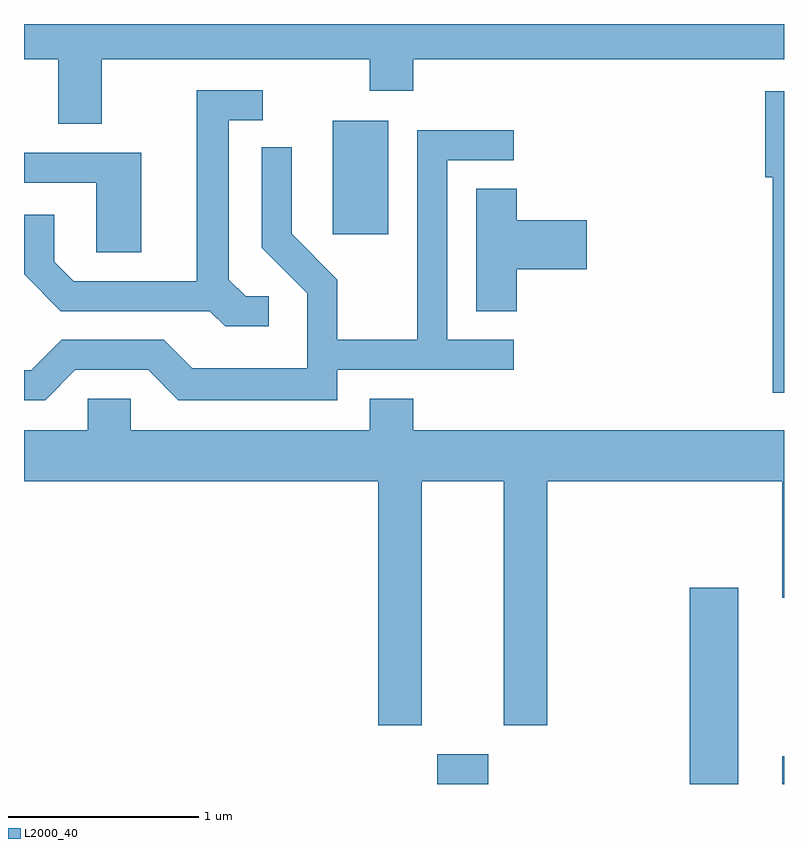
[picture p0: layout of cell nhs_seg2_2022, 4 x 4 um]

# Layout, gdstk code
import gdstk
lib = gdstk.Library(unit=1e-6, precision=1e-09)
def R(c, l, rs):  # rectangles x0, y0, x1, y1
    for r in rs: c.add(gdstk.rectangle(r[:2], r[2:], *l))
def P(c, l, *ps):  # polygons
    for p in ps: c.add(gdstk.Polygon(p, *l))
L2000_40 = (2000, 40)

nhs_seg2_2022 = lib.new_cell('nhs_seg2_2022')
R(nhs_seg2_2022, L2000_40, [(245.786,1077.802,246.054,1077.959), (247.116,1077.802,247.369,1078.834), (247.601,1077.802,247.611,1077.949), (245.236,1080.696,245.529,1081.294)])
P(nhs_seg2_2022, L2000_40, [(244.019,1081.616),(245.431,1081.616),(245.431,1081.451),(245.659,1081.451),(245.659,1081.616),(247.611,1081.616),(247.611,1081.802),(243.611,1081.802),(243.611,1081.616),(243.791,1081.616),(243.791,1081.276),(244.019,1081.276)],
  [(244.898,1080.369),(244.777,1080.369),(244.689,1080.457),(244.689,1081.296),(244.868,1081.296),(244.868,1081.454),(244.521,1081.454),(244.521,1080.449),(243.872,1080.449),(243.769,1080.552),(243.769,1080.798),(243.611,1080.798),(243.611,1080.484),(243.804,1080.291),(244.589,1080.291),(244.669,1080.211),(244.898,1080.211)],
  [(247.611,1081.449),(247.511,1081.449),(247.511,1080.996),(247.551,1080.996),(247.551,1079.861),(247.611,1079.861)],
  [(243.882,1079.981),(244.264,1079.981),(244.424,1079.821),(245.259,1079.821),(245.259,1079.981),(246.188,1079.981),(246.188,1080.139),(245.839,1080.139),(245.839,1081.086),(246.188,1081.086),(246.188,1081.244),(245.681,1081.244),(245.681,1080.139),(245.259,1080.139),(245.259,1080.457),(245.019,1080.697),(245.019,1081.153),(244.861,1081.153),(244.861,1080.624),(245.101,1080.384),(245.101,1079.989),(244.497,1079.989),(244.347,1080.139),(243.809,1080.139),(243.649,1079.979),(243.611,1079.979),(243.611,1079.821),(243.722,1079.821)],
  [(244.229,1081.124),(243.611,1081.124),(243.611,1080.966),(243.991,1080.966),(243.991,1080.601),(244.229,1080.601)],
  [(246.204,1080.511),(246.574,1080.511),(246.574,1080.769),(246.204,1080.769),(246.204,1080.934),(245.991,1080.934),(245.991,1080.291),(246.204,1080.291)],
  [(245.704,1079.396),(246.136,1079.396),(246.136,1078.111),(246.364,1078.111),(246.364,1079.396),(247.601,1079.396),(247.601,1078.781),(247.611,1078.781),(247.611,1079.664),(245.659,1079.664),(245.659,1079.829),(245.431,1079.829),(245.431,1079.664),(244.174,1079.664),(244.174,1079.829),(243.946,1079.829),(243.946,1079.664),(243.611,1079.664),(243.611,1079.396),(245.476,1079.396),(245.476,1078.111),(245.704,1078.111)])

lib.write_gds('nhs_seg2_2022.gds')
